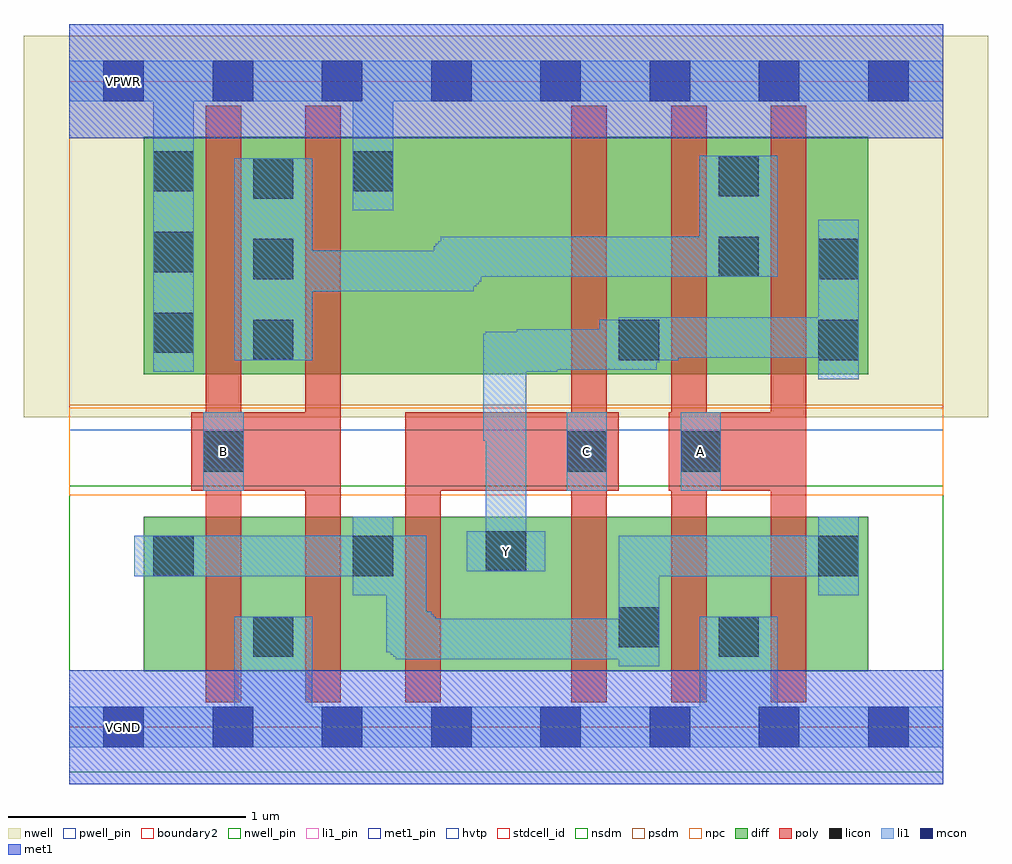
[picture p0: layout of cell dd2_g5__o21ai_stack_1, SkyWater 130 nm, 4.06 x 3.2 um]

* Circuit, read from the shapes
.subckt dd2_g5__o21ai_stack_1 A B C VGND VNB VPB VPWR Y
XM1 VGND B n1 VNB sky130_fd_pr__nfet_01v8 w=0.65 l=0.15 m=2
XM2 Y C n1 VNB sky130_fd_pr__nfet_01v8 w=0.65 l=0.15 m=2
XM3 VGND A n1 VNB sky130_fd_pr__nfet_01v8 w=0.65 l=0.15 m=2
XM4 n2 B VPWR VPB sky130_fd_pr__pfet_01v8_hvt w=1 l=0.15 m=2
XM5 Y C VPWR VPB sky130_fd_pr__pfet_01v8_hvt w=1 l=0.15
XM6 n2 A Y VPB sky130_fd_pr__pfet_01v8_hvt w=1 l=0.15 m=2
.ends

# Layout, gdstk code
import gdstk
lib = gdstk.Library(unit=1e-6, precision=1e-09)
def R(c, l, rs):  # rectangles x0, y0, x1, y1
    for r in rs: c.add(gdstk.rectangle(r[:2], r[2:], *l))
def A(c, l, x, y, w, h, nx, ny, dx, dy):  # array of equal rectangles
    R(c, l, [(x+i*dx, y+j*dy, x+i*dx+w, y+j*dy+h) for i in range(nx) for j in range(ny)])
nwell_pin = (64, 16)
nwell = (64, 20)
diff = (65, 20)
poly = (66, 20)
licon = (66, 44)
li1_pin = (67, 16)
li1 = (67, 20)
mcon = (67, 44)
met1_pin = (68, 16)
met1 = (68, 20)
hvtp = (78, 44)
stdcell_id = (81, 4)
nsdm = (93, 44)
psdm = (94, 20)
npc = (95, 20)
pwell_pin = (122, 16)
boundary2 = (236, 0)

dd2_g5__o21ai_stack_1 = lib.new_cell('dd2_g5__o21ai_stack_1')
R(dd2_g5__o21ai_stack_1, nwell_pin, [(0.145,2.635,0.315,2.805)])
R(dd2_g5__o21ai_stack_1, nwell, [(-0.19,1.305,3.87,2.91)])
R(dd2_g5__o21ai_stack_1, diff, [(0.315,0.235,1.07,0.885), (0.65,0.235,1.49,0.885), (1.07,0.235,2.19,0.885), (1.49,0.235,2.61,0.885), (2.19,0.235,3.03,0.885), (2.61,0.235,3.365,0.885), (0.315,1.485,1.07,2.485), (0.65,1.485,1.49,2.485), (1.07,1.485,2.19,2.485), (1.49,1.485,2.61,2.485), (2.19,1.485,3.03,2.485), (2.61,1.485,3.365,2.485)])
A(dd2_g5__o21ai_stack_1, poly, 2.115, 0.105, 0.15, 2.51, 3, 1, 0.42, 0)
R(dd2_g5__o21ai_stack_1, poly, [(0.575,0.105,0.725,2.615), (0.995,0.105,1.145,2.615), (1.415,0.105,1.565,1.325), (0.515,0.995,0.785,1.325), (0.575,0.995,1.145,1.325), (1.415,0.995,2.265,1.325), (2.045,0.995,2.315,1.325), (2.525,0.995,2.795,1.325), (2.535,0.995,3.105,1.325)])
A(dd2_g5__o21ai_stack_1, licon, 0.775, 1.545, 0.17, 0.17, 1, 3, 0, 0.34)
A(dd2_g5__o21ai_stack_1, licon, 0.355, 1.575, 0.17, 0.17, 1, 3, 0, 0.34)
R(dd2_g5__o21ai_stack_1, licon, [(0.775,0.295,0.945,0.465), (2.735,0.295,2.905,0.465), (2.315,0.335,2.485,0.505), (0.355,0.635,0.525,0.805), (1.195,0.635,1.365,0.805), (3.155,0.635,3.325,0.805), (1.755,0.655,1.925,0.825), (0.565,1.075,0.735,1.245), (2.095,1.075,2.265,1.245), (2.575,1.075,2.745,1.245), (2.315,1.545,2.485,1.715), (3.155,1.545,3.325,1.715), (3.155,1.885,3.325,2.055), (2.735,1.895,2.905,2.065), (2.735,2.235,2.905,2.405), (1.195,2.255,1.365,2.425)])
R(dd2_g5__o21ai_stack_1, li1_pin, [(0.145,-0.085,0.315,0.085), (1.765,0.665,1.915,0.815), (0.575,1.085,0.725,1.235), (2.105,1.085,2.255,1.235), (2.585,1.085,2.735,1.235), (0.145,2.635,0.315,2.805)])
R(dd2_g5__o21ai_stack_1, li1, [(0,-0.085,3.68,0.085), (0.695,0.085,1.025,0.465), (2.655,0.085,2.985,0.465), (2.315,0.255,2.485,0.285), (1.375,0.285,2.485,0.295), (1.365,0.295,2.485,0.305), (1.355,0.305,2.485,0.315), (1.335,0.315,2.485,0.455), (1.335,0.455,1.545,0.465), (2.315,0.455,2.485,0.635), (1.335,0.465,1.535,0.475), (1.335,0.475,1.525,0.485), (1.335,0.485,1.505,0.555), (1.195,0.555,1.505,0.635), (3.155,0.555,3.325,0.635), (0.275,0.635,1.505,0.805), (2.315,0.635,3.325,0.805), (1.675,0.655,2.005,0.825), (1.195,0.805,1.365,0.885), (3.155,0.805,3.325,0.885), (1.755,0.825,1.925,1.205), (0.565,0.995,0.735,1.325), (2.095,0.995,2.265,1.325), (2.575,0.995,2.745,1.325), (1.745,1.205,1.925,1.495), (3.155,1.465,3.325,1.555), (0.355,1.495,0.525,2.635), (1.745,1.495,2.055,1.505), (1.745,1.505,2.475,1.535), (1.745,1.535,2.485,1.545), (0.695,1.545,1.025,1.835), (1.745,1.545,2.565,1.555), (1.745,1.555,3.325,1.655), (1.755,1.655,3.325,1.665), (1.885,1.665,3.325,1.675), (2.235,1.675,3.325,1.715), (2.315,1.715,3.325,1.725), (3.155,1.725,3.325,2.135), (0.695,1.835,1.705,1.855), (0.695,1.855,1.715,1.865), (0.695,1.865,1.725,1.875), (0.695,1.875,1.735,1.895), (0.695,1.895,2.985,2.005), (0.695,2.005,1.025,2.395), (1.535,2.005,2.985,2.025), (1.545,2.025,2.985,2.035), (1.555,2.035,2.985,2.045), (1.565,2.045,2.985,2.065), (2.655,2.065,2.985,2.405), (1.195,2.175,1.365,2.635), (0,2.635,3.68,2.805)])
A(dd2_g5__o21ai_stack_1, mcon, 0.145, -0.085, 0.17, 0.17, 8, 2, 0.46, 2.72)
R(dd2_g5__o21ai_stack_1, met1_pin, [(0.145,-0.085,0.315,0.085), (0.145,2.635,0.315,2.805)])
R(dd2_g5__o21ai_stack_1, met1, [(0,-0.24,3.68,0.24), (0,2.48,3.68,2.96)])
R(dd2_g5__o21ai_stack_1, hvtp, [(0,1.25,3.68,2.72)])
R(dd2_g5__o21ai_stack_1, stdcell_id, [(0,0,3.68,2.72)])
R(dd2_g5__o21ai_stack_1, nsdm, [(0,-0.19,3.68,1.015)])
R(dd2_g5__o21ai_stack_1, psdm, [(0,1.355,3.68,2.91)])
R(dd2_g5__o21ai_stack_1, npc, [(0,0.975,3.68,1.345)])
R(dd2_g5__o21ai_stack_1, pwell_pin, [(0.145,-0.085,0.315,0.085)])
R(dd2_g5__o21ai_stack_1, boundary2, [(0,0,3.68,2.72)])
dd2_g5__o21ai_stack_1.add(gdstk.Label('VPWR', (0.23,2.72), layer=68, texttype=5))
dd2_g5__o21ai_stack_1.add(gdstk.Label('VGND', (0.23,0), layer=68, texttype=5))
dd2_g5__o21ai_stack_1.add(gdstk.Label('VPWR', (0.23,2.72), layer=67, texttype=5))
dd2_g5__o21ai_stack_1.add(gdstk.Label('VGND', (0.23,0), layer=67, texttype=5))
dd2_g5__o21ai_stack_1.add(gdstk.Label('A', (2.66,1.16), layer=67, texttype=5))
dd2_g5__o21ai_stack_1.add(gdstk.Label('B', (0.65,1.16), layer=67, texttype=5))
dd2_g5__o21ai_stack_1.add(gdstk.Label('C', (2.18,1.16), layer=67, texttype=5))
dd2_g5__o21ai_stack_1.add(gdstk.Label('Y', (1.84,0.74), layer=67, texttype=5))
dd2_g5__o21ai_stack_1.add(gdstk.Label('VPB', (0.23,2.72), layer=64, texttype=5))
dd2_g5__o21ai_stack_1.add(gdstk.Label('VNB', (0.23,0), layer=64, texttype=59))

lib.write_gds('dd2_g5__o21ai_stack_1.gds')
